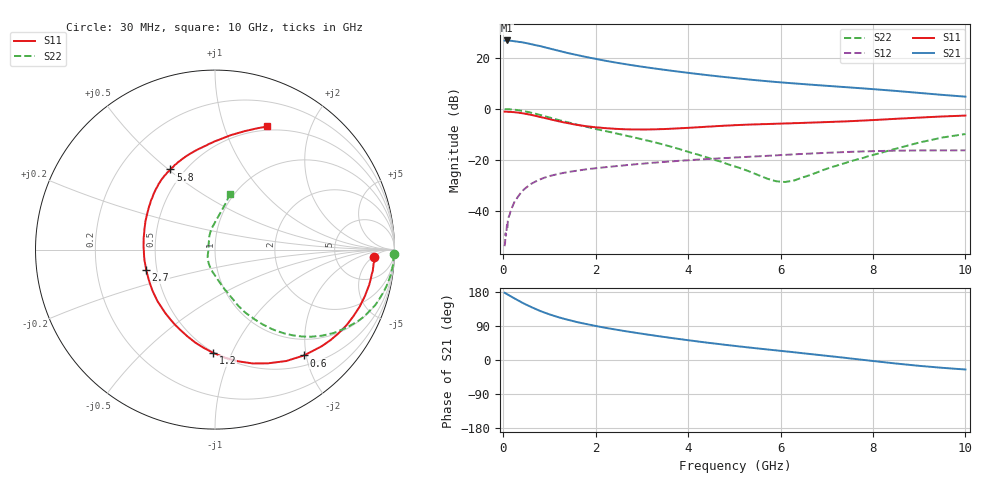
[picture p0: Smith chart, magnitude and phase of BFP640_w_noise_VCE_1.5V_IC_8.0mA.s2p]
! (c) 2013  Infineon Technologies AG, Munich
! Infineon Technologies  Discrete & RF Semiconductors
! BFP640
! VCE =  1.5 V,  IC =  8.0 mA
! Common Emitter S-Parameters:  Apr 2013
# GHz  S  MA  R  50
!  f  S11  S21  S12  S22
! GHz  MAG  ANG  MAG  ANG  MAG  ANG  MAG  ANG
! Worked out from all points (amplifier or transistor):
!   99 points, 30 MHz to 10 GHz, reference 50 ohm
!   highest |S21| = 27.0 dB at 80 MHz (marker M1)
!   |S21| within 3 dB of that: start of sweep to 968 MHz
!   unconditionally stable (mu >= 1): 4.266 GHz to end of sweep
!   at 350 MHz: K = 0.12, MSG = 30.1 dB, |S12| = -33.7 dB
!   at 3.5 GHz: K = 0.93, MSG = 18.1 dB, |S12| = -20.8 dB
!   at 10 GHz: K = 1.11, MAG = 8.6 dB, |S12| = -16.2 dB
!   lowest NFmin = 0.60 dB at 450 MHz
!   S11 on the Smith chart (normalised r, x): 30 MHz: 15, -6; 600 MHz: 0.68, -1.96; 1.2 GHz: 0.50, -0.85; 2.7 GHz: 0.44, -0.12; 5.8 GHz: 0.42, +0.51; 10 GHz: 0.46, +1.41
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0.03  0.8894 -2.5  22.27 177.4  0.002 86.4  0.9966 -1.5
0.08  0.8867 -6.9  22.46 173.9  0.0052 90.6  0.995 -4.4
0.2  0.8742 -17.3  21.95 165.5  0.0121 79.1  0.9805 -11.1
0.3  0.8558 -25.7  21.34 158.7  0.0178 77.9  0.9576 -16.4
0.4  0.8311 -34.2  20.77 152.0  0.0236 73.3  0.926 -21.7
0.5  0.8024 -42.1  19.92 145.9  0.0286 69.2  0.8916 -26.5
0.6  0.7707 -49.9  19.03 140.1  0.0336 65.6  0.8504 -30.9
0.8  0.6987 -65.1  17.41 129.3  0.0414 59.0  0.7656 -38.8
1  0.6347 -78.5  15.63 120.5  0.048 53.8  0.6834 -45.1
1.2  0.5757 -90.9  14.07 112.7  0.053 49.6  0.6093 -50.2
1.4  0.5295 -102.0  12.69 106.1  0.0574 46.2  0.5489 -54.1
1.7  0.4735 -118.3  11.06 97.4  0.0633 42.5  0.471 -58.8
2  0.4376 -133.3  9.759 89.9  0.0684 39.6  0.4065 -63.0
2.2  0.4222 -142.5  9.003 85.2  0.0716 37.8  0.3714 -65.5
2.7  0.3994 -163.7  7.527 75.0  0.0794 34.2  0.2942 -70.1
3.4  0.4029 170.4  6.082 62.2  0.09 29.3  0.2074 -78.8
4.3  0.4433 144.6  4.801 47.5  0.1024 22.8  0.1198 -98.0
5.1  0.4857 129.0  4.002 35.9  0.1125 17.6  0.0701 -124.2
5.8  0.5111 119.1  3.48 26.7  0.1213 13.1  0.0402 -161.1
6.7  0.5432 107.6  3.008 15.0  0.1341 6.5  0.0529 130.7
8.5  0.6439 82.1  2.277 -9.3  0.1518 -9.3  0.1664 87.2
10  0.7454 67.0  1.757 -25.1  0.1542 -19.7  0.323 75.1
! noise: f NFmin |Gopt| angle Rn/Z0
0.45  0.6  0.33  11  0.07
0.9  0.61  0.32  18  0.07
1.5  0.64  0.29  30  0.07
1.9  0.67  0.23  49  0.08
2.4  0.72  0.21  58  0.08
3.5  0.84  0.17  76  0.09
5.5  1.07  0.23  -139  0.1
10  1.69  0.6  -62  0.41
